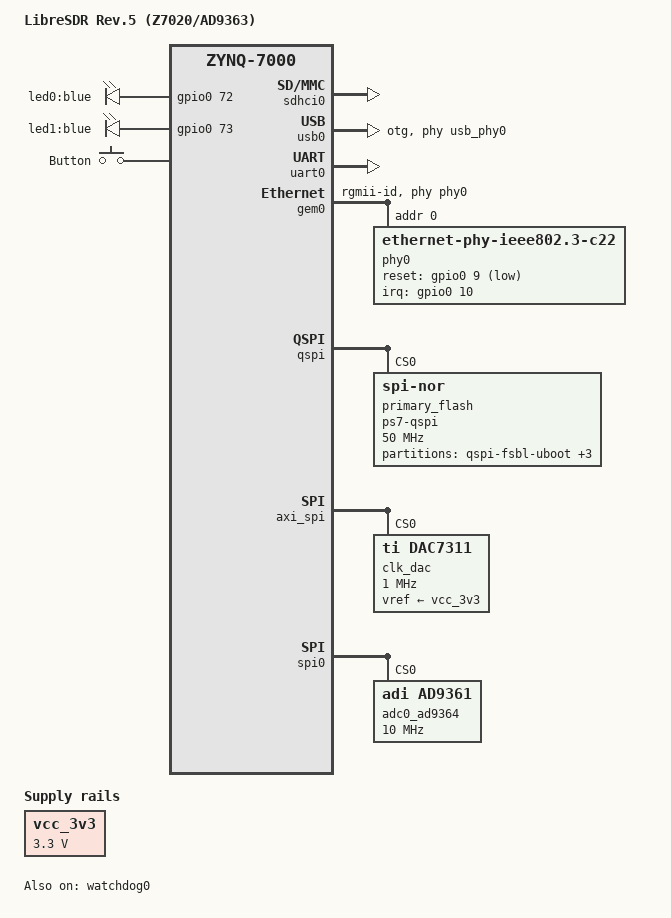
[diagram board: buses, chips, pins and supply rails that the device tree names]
/dts-v1/;
#include "zynq-7000.dtsi"
#include <include/dt-bindings/input/input.h>
#include <include/dt-bindings/gpio/gpio.h>
#include <include/dt-bindings/interrupt-controller/irq.h>
/ {
	model = "LibreSDR Rev.5 (Z7020/AD9363)";

	aliases {
		ethernet0 = &gem0;
		serial0 = &uart0;
	};
        
	chosen {
		bootargs = "";
		stdout-path = "serial0:115200n8";
	};
		
	vcc_3v3: fixedregulator {
                compatible = "regulator-fixed";
                regulator-name = "vcc_3v3";
                regulator-min-microvolt = <3300000>;
                regulator-max-microvolt = <3300000>;
                regulator-always-on;
        };
	clocks {
		ad9364_clkin: clock {
			#clock-cells = <0>;
			compatible = "adjustable-clock";
			clock-frequency = <40000000>;
			clock-accuracy = <200000>; /* 200 ppm (ppb) */
			clock-output-names = "ad9364_ext_refclk";
		};
	};
	usb_phy0: phy0 {
		compatible = "ulpi-phy";
		#phy-cells = <0>;
		reg = <0xe0002000 0x1000>;
		view-port = <0x0170>;
		drv-vbus;
	};
	leds {
		compatible = "gpio-leds";
		led0 {
			label = "led0:blue";
			gpios = <&gpio0 72 0>;
			linux,default-trigger = "cpu";
		};
		led1 {
			label = "led1:blue";
			gpios = <&gpio0 73 0>;
			linux,default-trigger = "none";
		};
	};
        gpio_keys {
		compatible = "gpio-keys";
		#address-cells = <1>;
		#size-cells = <0>;

		button {
			interrupt-parent = <&gpio0>;
			interrupts = <12 IRQ_TYPE_EDGE_FALLING>;
			label = "Button";
			linux,code = <BTN_MISC>;
		};

	};
};

&sdhci0 {
	status = "okay";
	xlnx,has-cd = <0x0>;
	xlnx,has-power = <0x0>;
	xlnx,has-wp = <0x0>;
};

&watchdog0 {
	status = "okay";
	reset-on-timeout;
};

&usb0 {
	// The PHY expects an active low reset.
	// This looks like it's specifying an active high GPIO, but it works.
	xlnx,phy-reset-gpio = <&gpio0 47 0>;
	dr_mode = "otg";
	status = "okay";
	usb-phy = <&usb_phy0>;
};

&uart0 {
	bootph-all;
	status = "okay";
};

&gem0 {
	status = "okay";
	phy-mode = "rgmii-id";
	phy-handle = <&phy0>;

	phy0: phy@0 { /* any PHY that implements IEEE 802.3 clause 22 */
		reg = <0>;
		compatible = "ethernet-phy-ieee802.3-c22";
		reset-gpios = <&gpio0 9 1>; // ETH_RESET# on MIO 9
		interrupt-parent = <&gpio0>;
		interrupts = <10 IRQ_TYPE_LEVEL_LOW>; // ETH_INT_B on MIO 10
	};
};

&qspi {
	status = "okay";
	is-dual = <0>;
	num-cs = <1>;
	spi-nor-locking-disable;

	primary_flash: ps7-qspi@0 {
		#address-cells = <1>;
		#size-cells = <1>;
		spi-tx-bus-width = <1>;
		spi-rx-bus-width = <4>;
		compatible = "jedec,spi-nor";
		reg = <0x0>;
		spi-max-frequency = <50000000>;
		partition@qspi-fsbl-uboot {
			label = "qspi-fsbl-uboot";
			reg = <0x0 0x100000>; /* 1M */
		};
		partition@qspi-uboot-env {
			label = "qspi-uboot-env";
			reg = <0x100000 0x20000>; /* 128k */
		};
		partition@qspi-nvmfs {
			label = "qspi-nvmfs";
			reg = <0x120000 0xE0000>; /* 1M */
		};
		partition@qspi-linux {
			label = "qspi-linux";
			reg = <0x200000 0x1E00000>; /* 30M */
		};
	};
};

&adc {
	xlnx,channels {
		#address-cells = <1>;
		#size-cells = <0>;
		channel@0 {
			reg = <0>;
		};
	};
};

// axi_spi must be defined in the PL device tree
&axi_spi {
	// https://www.kernel.org/doc/Documentation/devicetree/bindings/iio/dac/ti%2Cdac7311.txt
	clk_dac: dac@0 {
		compatible = "ti,dac7311";
		reg = <0>; /* CE0 */
		spi-max-frequency = <1000000>;
		vref-supply = <&vcc_3v3>;
	};
};

&spi0 {
	status = "okay";

	adc0_ad9364: ad9361-phy@0 {
		#address-cells = <1>;
		#size-cells = <0>;
		#clock-cells = <1>;
		compatible = "adi,ad9361";

		/* SPI Setup */
		reg = <0>;
		spi-cpha;
		spi-max-frequency = <10000000>;

		/* Clocks */
		clocks = <&ad9364_clkin>;
		clock-names = "ad9361_ext_refclk";
		clock-output-names = "rx_sampl_clk", "tx_sampl_clk";
	};
};

